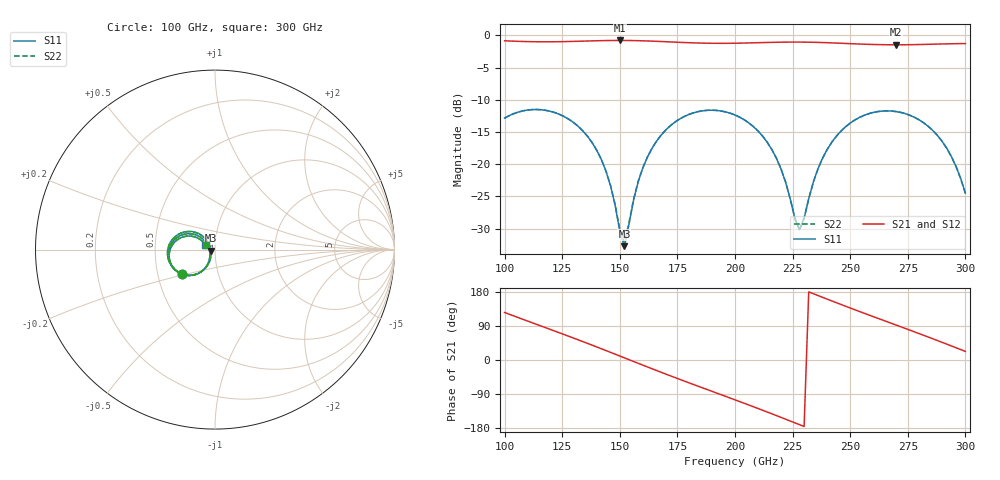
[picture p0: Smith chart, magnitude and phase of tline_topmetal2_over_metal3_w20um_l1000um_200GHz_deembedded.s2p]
! Created with skrf 2.2.0 (http://scikit-rf.org).
# GHz S DB R 50.0
! Port[1] = P1
! Port[2] = P2
!freq dBS11 angS11 dBS21 angS21 dBS12 angS12 dBS22 angS22
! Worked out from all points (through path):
!   101 points, 100 GHz to 300 GHz, reference 50 ohm
!   highest |S21| = -0.79 dB at 150 GHz (marker M1); lowest = -1.5 dB at 270 GHz (marker M2)
!   group delay of S21, straight-line fit = 6.44 ps
!   lowest |S11| = -32.7 dB at 152 GHz (marker M3), VSWR 1.05, Z = 47.8 - j0.577 ohm
!   |S11| at or under -10 dB: start of sweep to end of sweep
!   |S22| runs from -32.2 to -11.5 dB; largest |S21 - S12| = 1e-13
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100  -12.84 -144.1  -0.84 125.4  -0.84 125.4  -12.84 -143.8
118  -11.64 178.3  -0.99 84.8  -0.99 84.8  -11.64 178.6
134  -14.84 145.9  -0.89 48.5  -0.89 48.5  -14.83 146.5
144  -21.07 131.1  -0.80 24.9  -0.80 24.9  -21.04 132.2
150  -30.42 151.9  -0.79 10.5  -0.79 10.5  -30.12 154.0
152  -32.71 -164.9  -0.79 5.7  -0.79 5.7  -32.18 -164.9
158  -22.70 -114.4  -0.82 -8.8  -0.82 -8.8  -22.63 -115.3
168  -15.46 -126.6  -0.95 -32.5  -0.95 -32.5  -15.44 -126.8
184  -11.83 -158.2  -1.18 -69.2  -1.18 -69.2  -11.82 -158.2
200  -12.36 169.8  -1.21 -105.1  -1.21 -105.1  -12.35 169.9
216  -17.73 141.8  -1.08 -142.0  -1.08 -142.0  -17.72 141.9
222  -22.82 140.0  -1.04 -156.3  -1.04 -156.3  -22.82 140.0
228  -30.16 -168.5  -1.04 -170.6  -1.04 -170.6  -30.18 -168.5
234  -22.77 -117.8  -1.07 175.0  -1.07 175.0  -22.78 -117.6
240  -17.71 -119.7  -1.13 160.7  -1.13 160.7  -17.71 -119.5
248  -14.18 -132.4  -1.25 141.9  -1.25 141.9  -14.18 -132.3
258  -12.15 -151.4  -1.39 119.0  -1.39 119.0  -12.15 -151.2
268  -11.74 -170.8  -1.46 96.6  -1.46 96.6  -11.74 -170.6
270  -11.82 -174.6  -1.46 92.1  -1.46 92.1  -11.82 -174.5
288  -15.58 152.9  -1.35 51.0  -1.35 51.0  -15.58 153.0
294  -18.85 146.2  -1.30 36.9  -1.30 36.9  -18.86 146.2
300  -24.47 153.3  -1.27 22.6  -1.27 22.6  -24.53 153.0
